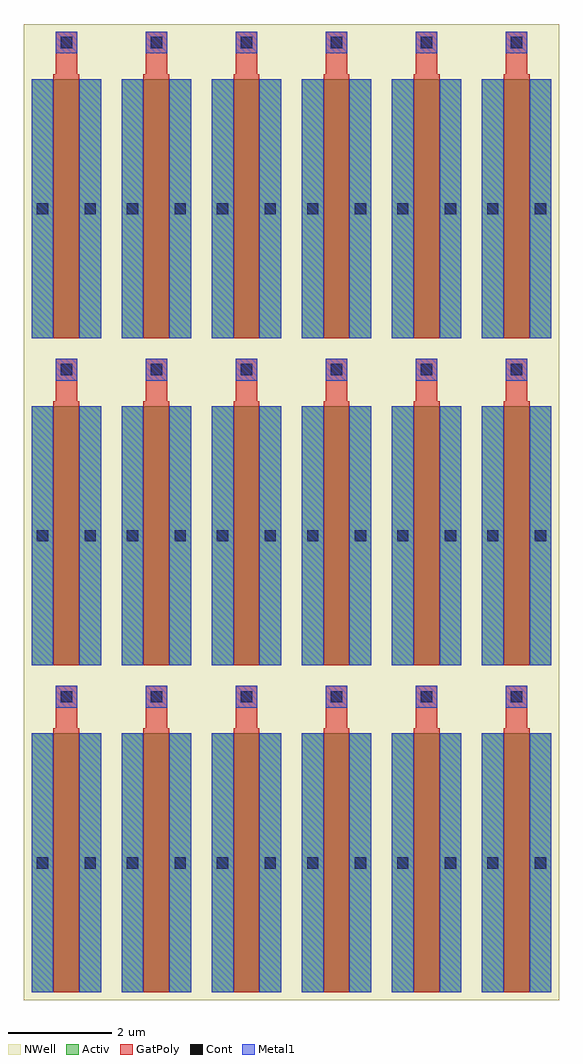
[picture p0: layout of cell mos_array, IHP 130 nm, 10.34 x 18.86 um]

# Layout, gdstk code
import gdstk
lib = gdstk.Library(unit=1e-6, precision=1e-09)
def R(c, l, rs):  # rectangles x0, y0, x1, y1
    for r in rs: c.add(gdstk.rectangle(r[:2], r[2:], *l))
def A(c, l, x, y, w, h, nx, ny, dx, dy):  # array of equal rectangles
    R(c, l, [(x+i*dx, y+j*dy, x+i*dx+w, y+j*dy+h) for i in range(nx) for j in range(ny)])
Activ = (1, 0)
GatPoly = (5, 0)
Cont = (6, 0)
Metal1 = (8, 0)
NWell = (31, 0)

mos_array = lib.new_cell('mos_array')
A(mos_array, Activ, 0, 0, 1.34, 5, 6, 3, 1.74, 6.32)
A(mos_array, GatPoly, 0.42, 0, 0.5, 5, 6, 3, 1.74, 6.32)
A(mos_array, GatPoly, 0.42, 5, 0.5, 0.1, 6, 3, 1.74, 6.32)
A(mos_array, GatPoly, 0.46, 5.1, 0.42, 0.82, 6, 3, 1.74, 6.32)
A(mos_array, Cont, 0.1, 2.39, 0.22, 0.22, 1, 3, 0, 6.32)
A(mos_array, Cont, 1.02, 2.39, 0.22, 0.22, 1, 3, 0, 6.32)
A(mos_array, Cont, 1.84, 2.39, 0.22, 0.22, 1, 3, 0, 6.32)
A(mos_array, Cont, 2.76, 2.39, 0.22, 0.22, 1, 3, 0, 6.32)
A(mos_array, Cont, 3.58, 2.39, 0.22, 0.22, 1, 3, 0, 6.32)
A(mos_array, Cont, 4.5, 2.39, 0.22, 0.22, 1, 3, 0, 6.32)
A(mos_array, Cont, 5.32, 2.39, 0.22, 0.22, 1, 3, 0, 6.32)
A(mos_array, Cont, 6.24, 2.39, 0.22, 0.22, 1, 3, 0, 6.32)
A(mos_array, Cont, 7.06, 2.39, 0.22, 0.22, 1, 3, 0, 6.32)
A(mos_array, Cont, 7.98, 2.39, 0.22, 0.22, 1, 3, 0, 6.32)
A(mos_array, Cont, 8.8, 2.39, 0.22, 0.22, 1, 3, 0, 6.32)
A(mos_array, Cont, 9.72, 2.39, 0.22, 0.22, 1, 3, 0, 6.32)
A(mos_array, Cont, 0.56, 5.6, 0.22, 0.22, 6, 3, 1.74, 6.32)
A(mos_array, Metal1, 0, 0, 0.42, 5, 1, 3, 0, 6.32)
A(mos_array, Metal1, 0.92, 0, 0.42, 5, 1, 3, 0, 6.32)
A(mos_array, Metal1, 1.74, 0, 0.42, 5, 1, 3, 0, 6.32)
A(mos_array, Metal1, 2.66, 0, 0.42, 5, 1, 3, 0, 6.32)
A(mos_array, Metal1, 3.48, 0, 0.42, 5, 1, 3, 0, 6.32)
A(mos_array, Metal1, 4.4, 0, 0.42, 5, 1, 3, 0, 6.32)
A(mos_array, Metal1, 5.22, 0, 0.42, 5, 1, 3, 0, 6.32)
A(mos_array, Metal1, 6.14, 0, 0.42, 5, 1, 3, 0, 6.32)
A(mos_array, Metal1, 6.96, 0, 0.42, 5, 1, 3, 0, 6.32)
A(mos_array, Metal1, 7.88, 0, 0.42, 5, 1, 3, 0, 6.32)
A(mos_array, Metal1, 8.7, 0, 0.42, 5, 1, 3, 0, 6.32)
A(mos_array, Metal1, 9.62, 0, 0.42, 5, 1, 3, 0, 6.32)
A(mos_array, Metal1, 0.46, 5.5, 0.42, 0.42, 6, 3, 1.74, 6.32)
R(mos_array, NWell, [(-0.15,-0.15,10.19,18.71)])

lib.write_gds('mos_array.gds')
